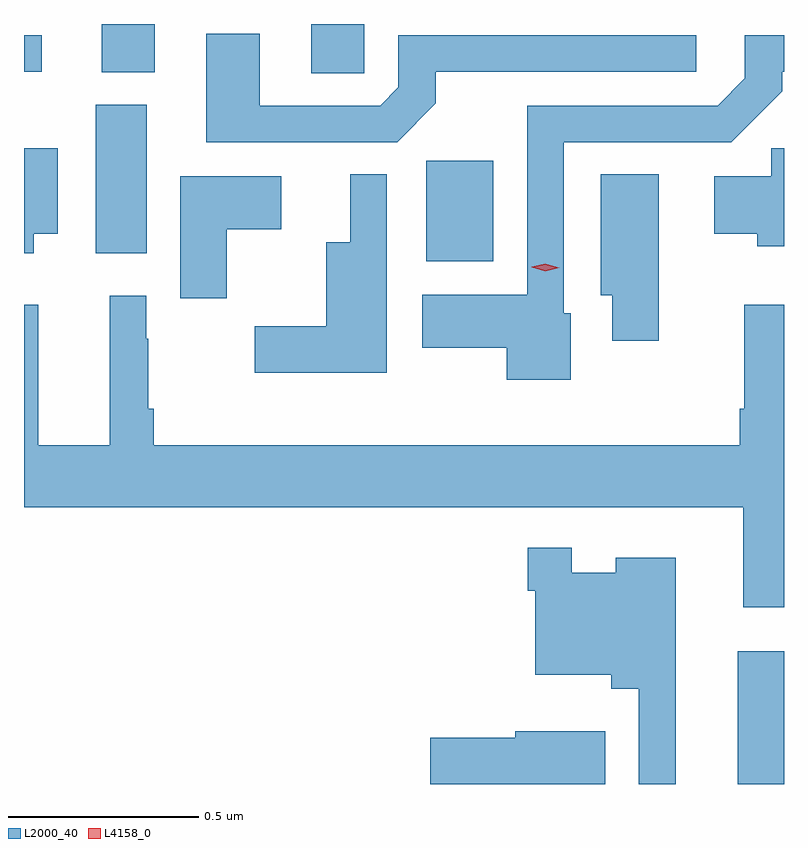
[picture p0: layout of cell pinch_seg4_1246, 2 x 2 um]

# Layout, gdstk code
import gdstk
lib = gdstk.Library(unit=1e-6, precision=1e-09)
def R(c, l, rs):  # rectangles x0, y0, x1, y1
    for r in rs: c.add(gdstk.rectangle(r[:2], r[2:], *l))
def P(c, l, *ps):  # polygons
    for p in ps: c.add(gdstk.Polygon(p, *l))
L2000_40 = (2000, 40)
L4158_0 = (4158, 0)

pinch_seg4_1246 = lib.new_cell('pinch_seg4_1246')
R(pinch_seg4_1246, L2000_40, [(316.679,825.396,316.801,825.745), (315.86,826.772,316.036,827.036), (314.99,826.793,315.124,827.184), (315.557,827.266,315.696,827.396), (315.005,827.269,315.145,827.396), (314.801,827.27,314.848,827.367)])
P(pinch_seg4_1246, L2000_40, [(315.885,827.187),(315.885,827.271),(316.57,827.271),(316.57,827.367),(315.786,827.367),(315.786,827.229),(315.738,827.181),(315.421,827.181),(315.421,827.371),(315.281,827.371),(315.281,827.085),(315.783,827.085)],
  [(316.24,826.635),(316.221,826.635),(316.221,827.085),(316.662,827.085),(316.796,827.219),(316.796,827.27),(316.801,827.27),(316.801,827.367),(316.698,827.367),(316.698,827.253),(316.626,827.181),(316.125,827.181),(316.125,826.684),(315.849,826.684),(315.849,826.544),(316.072,826.544),(316.072,826.46),(316.24,826.46)],
  [(316.801,827.069),(316.768,827.069),(316.768,826.996),(316.617,826.996),(316.617,826.844),(316.73,826.844),(316.73,826.811),(316.801,826.811)],
  [(314.827,826.844),(314.89,826.844),(314.89,827.069),(314.801,827.069),(314.801,826.793),(314.827,826.793)],
  [(316.471,827),(316.319,827),(316.319,826.682),(316.349,826.682),(316.349,826.563),(316.471,826.563)],
  [(315.756,827),(315.659,827),(315.659,826.822),(315.596,826.822),(315.596,826.6),(315.408,826.6),(315.408,826.478),(315.756,826.478)],
  [(315.334,826.856),(315.478,826.856),(315.478,826.996),(315.212,826.996),(315.212,826.674),(315.334,826.674)],
  [(316.801,826.657),(316.697,826.657),(316.697,826.384),(316.685,826.384),(316.685,826.288),(315.143,826.288),(315.143,826.384),(315.128,826.384),(315.128,826.568),(315.123,826.568),(315.123,826.681),(315.026,826.681),(315.026,826.288),(314.839,826.288),(314.839,826.657),(314.801,826.657),(314.801,826.124),(316.694,826.124),(316.694,825.861),(316.801,825.861)],
  [(316.516,825.991),(316.358,825.991),(316.358,825.952),(316.242,825.952),(316.242,826.018),(316.126,826.018),(316.126,825.905),(316.146,825.905),(316.146,825.683),(316.346,825.683),(316.346,825.647),(316.419,825.647),(316.419,825.396),(316.516,825.396)],
  [(316.33,825.535),(316.094,825.535),(316.094,825.518),(315.87,825.518),(315.87,825.396),(316.33,825.396)])
P(pinch_seg4_1246, L4158_0, [(316.173,826.745),(316.137,826.756),(316.137,826.757),(316.137,826.757),(316.173,826.765),(316.209,826.754),(316.209,826.754),(316.209,826.754)])

lib.write_gds('pinch_seg4_1246.gds')
